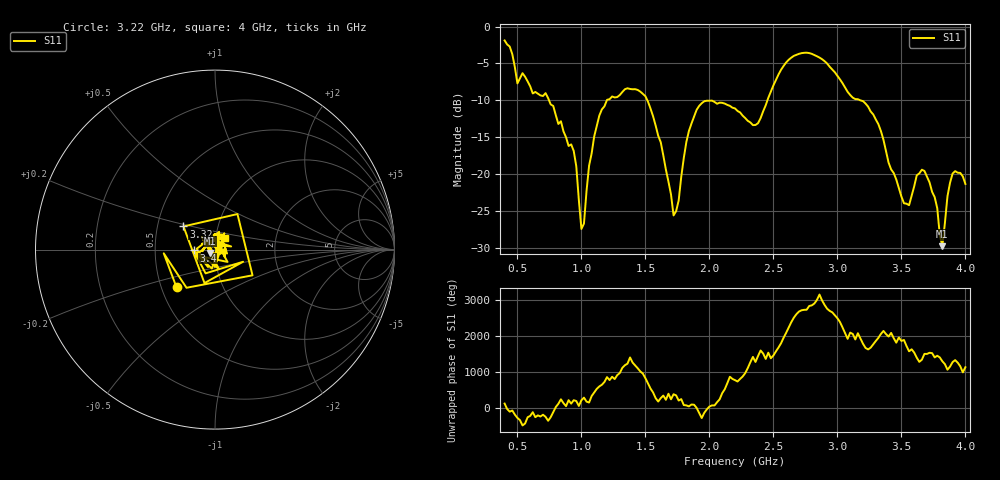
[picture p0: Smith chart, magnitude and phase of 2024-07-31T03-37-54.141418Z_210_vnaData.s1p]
!Created with skrf (http://scikit-rf.org).
# Hz S RI R 50.0
!freq ReS11 ImS11
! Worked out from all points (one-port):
!   181 points, 400 MHz to 4 GHz, reference 50 ohm
!   lowest |S11| = -29.8 dB at 3.82 GHz (marker M1), VSWR 1.07, Z = 47.4 - j1.78 ohm
!   |S11| at or under -10 dB: 746.8 MHz to 1.199 GHz (451.9 MHz wide, 46.5 % of centre); 1.515 GHz to 2.454 GHz (938.6 MHz wide, 47.3 % of centre); 3.178 GHz to end of sweep
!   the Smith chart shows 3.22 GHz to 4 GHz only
!   S11 on the Smith chart (normalised r, x): 3.22 GHz: 0.60, -0.28; 3.32 GHz: 0.68, +0.18; 3.4 GHz: 0.79, -0.01; 4 GHz: 1.10, +0.15
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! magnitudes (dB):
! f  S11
! 400 MHz  -1.9
! 500 MHz  -7.7
! 720 MHz  -9.0
! 860 MHz  -14.2
! 940 MHz  -16.9
! 1 GHz  -27.5
! 1.14 GHz  -12.1
! 1.3 GHz  -9.3
! 1.5 GHz  -9.5
! 1.62 GHz  -15.7
! 1.72 GHz  -25.6
! 1.76 GHz  -23.6
! 1.82 GHz  -15.7
! 1.9 GHz  -11.3
! 2.2 GHz  -11.1
! 2.38 GHz  -13.1
! 2.66 GHz  -4.0
! 2.88 GHz  -4.4
! 3.1 GHz  -9.3
! 3.22 GHz  -10.4
! 3.32 GHz  -13.2
! 3.4 GHz  -18.5
! 3.56 GHz  -24.2
! 3.68 GHz  -19.6
! 3.76 GHz  -23.1
! 3.82 GHz  -29.8
! 3.9 GHz  -19.9
! 4 GHz  -21.4
